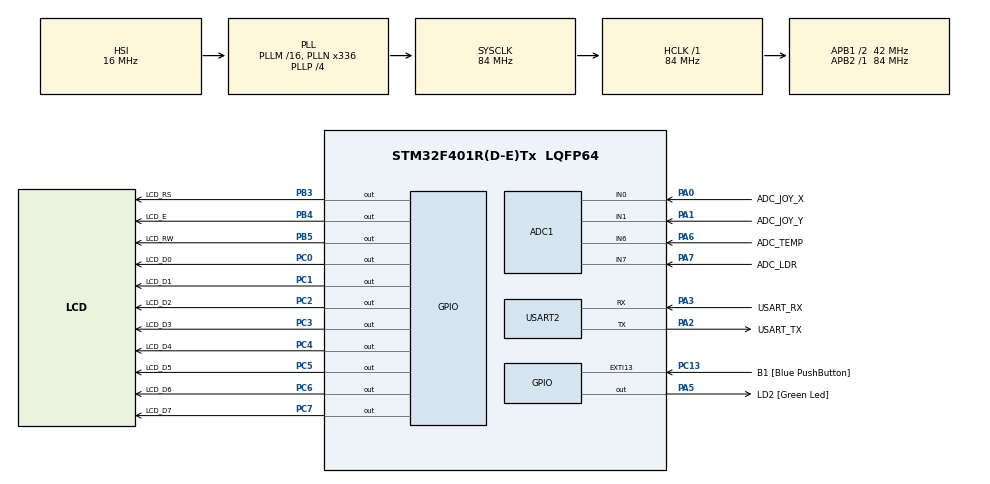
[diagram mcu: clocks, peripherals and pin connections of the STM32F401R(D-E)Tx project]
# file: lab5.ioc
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ADC1.Channel-0\#ChannelRegularConversion=ADC_CHANNEL_0
ADC1.Channel-1\#ChannelRegularConversion=ADC_CHANNEL_1
ADC1.Channel-2\#ChannelRegularConversion=ADC_CHANNEL_6
ADC1.Channel-3\#ChannelRegularConversion=ADC_CHANNEL_7
ADC1.ContinuousConvMode=ENABLE
ADC1.NbrOfConversion=4
ADC1.NbrOfConversionFlag=1
ADC1.Rank-0\#ChannelRegularConversion=1
ADC1.Rank-1\#ChannelRegularConversion=2
ADC1.Rank-2\#ChannelRegularConversion=3
ADC1.Rank-3\#ChannelRegularConversion=4
ADC1.SamplingTime-0\#ChannelRegularConversion=ADC_SAMPLETIME_480CYCLES
ADC1.SamplingTime-1\#ChannelRegularConversion=ADC_SAMPLETIME_480CYCLES
ADC1.SamplingTime-2\#ChannelRegularConversion=ADC_SAMPLETIME_480CYCLES
ADC1.SamplingTime-3\#ChannelRegularConversion=ADC_SAMPLETIME_480CYCLES
ADC1.ScanConvMode=ENABLE
ADC1.master=1
Mcu.Family=STM32F4
Mcu.Name=STM32F401R(D-E)Tx
Mcu.Package=LQFP64
NVIC.ADC_IRQn=true\:0\:0\:false\:false\:true\:true\:true
NVIC.PriorityGroup=NVIC_PRIORITYGROUP_0
PA0-WKUP.GPIO_Label=ADC_JOY_X
PA0-WKUP.Signal=ADCx_IN0
PA1.GPIO_Label=ADC_JOY_Y
PA1.Signal=ADCx_IN1
PA13.GPIO_Label=TMS
PA13.Mode=Serial_Wire
PA13.Signal=SYS_JTMS-SWDIO
PA14.GPIO_Label=TCK
PA14.Mode=Serial_Wire
PA14.Signal=SYS_JTCK-SWCLK
PA2.GPIO_Label=USART_TX
PA2.GPIO_Mode=GPIO_MODE_AF_PP
PA2.GPIO_PuPd=GPIO_NOPULL
PA2.GPIO_Speed=GPIO_SPEED_FREQ_LOW
PA2.Mode=Asynchronous
PA2.Signal=USART2_TX
PA3.GPIO_Label=USART_RX
PA3.GPIO_Mode=GPIO_MODE_AF_PP
PA3.GPIO_PuPd=GPIO_NOPULL
PA3.GPIO_Speed=GPIO_SPEED_FREQ_LOW
PA3.Mode=Asynchronous
PA3.Signal=USART2_RX
PA5.GPIO_Label=LD2 [Green Led]
PA5.GPIO_Mode=GPIO_MODE_OUTPUT_PP
PA5.GPIO_PuPd=GPIO_NOPULL
PA5.GPIO_Speed=GPIO_SPEED_FREQ_LOW
PA5.Signal=GPIO_Output
PA6.GPIO_Label=ADC_TEMP
PA6.Signal=ADCx_IN6
PA7.GPIO_Label=ADC_LDR
PA7.Signal=ADCx_IN7
PB3.GPIO_Label=LCD_RS
PB3.Signal=GPIO_Output
PB4.GPIO_Label=LCD_E
PB4.Signal=GPIO_Output
PB5.GPIO_Label=LCD_RW
PB5.Signal=GPIO_Output
PC0.GPIO_Label=LCD_D0
PC0.Signal=GPIO_Output
PC1.GPIO_Label=LCD_D1
PC1.Signal=GPIO_Output
PC13-ANTI_TAMP.GPIO_Label=B1 [Blue PushButton]
PC13-ANTI_TAMP.GPIO_ModeDefaultEXTI=GPIO_MODE_IT_FALLING
PC13-ANTI_TAMP.GPIO_PuPd=GPIO_NOPULL
PC13-ANTI_TAMP.Signal=GPXTI13
PC14-OSC32_IN.Mode=LSE-External-Oscillator
PC14-OSC32_IN.Signal=RCC_OSC32_IN
PC15-OSC32_OUT.Mode=LSE-External-Oscillator
PC15-OSC32_OUT.Signal=RCC_OSC32_OUT
PC2.GPIO_Label=LCD_D2
PC2.Signal=GPIO_Output
PC3.GPIO_Label=LCD_D3
PC3.Signal=GPIO_Output
PC4.GPIO_Label=LCD_D4
PC4.Signal=GPIO_Output
PC5.GPIO_Label=LCD_D5
PC5.Signal=GPIO_Output
PC6.GPIO_Label=LCD_D6
PC6.Signal=GPIO_Output
PC7.GPIO_Label=LCD_D7
PC7.Signal=GPIO_Output
PH0\ -\ OSC_IN.Mode=HSE-External-Clock-Source
PH0\ -\ OSC_IN.Signal=RCC_OSC_IN
PH1\ -\ OSC_OUT.Mode=HSE-External-Clock-Source
PH1\ -\ OSC_OUT.Signal=RCC_OSC_OUT
ProjectManager.HeapSize=0x200
ProjectManager.StackSize=0x400
ProjectManager.TargetToolchain=STM32CubeIDE
RCC.48MHZClocksFreq_Value=48000000
RCC.AHBFreq_Value=84000000
RCC.APB1CLKDivider=RCC_HCLK_DIV2
RCC.APB1Freq_Value=42000000
RCC.APB1TimFreq_Value=84000000
RCC.APB2Freq_Value=84000000
RCC.APB2TimFreq_Value=84000000
RCC.CortexFreq_Value=84000000
RCC.HCLKFreq_Value=84000000
RCC.HSE_VALUE=8000000
RCC.HSI_VALUE=16000000
RCC.PLLN=336
RCC.PLLP=RCC_PLLP_DIV4
RCC.PLLQ=7
RCC.SYSCLKFreq_VALUE=84000000
RCC.SYSCLKSource=RCC_SYSCLKSOURCE_PLLCLK
RCC.VCOOutputFreq_Value=336000000
SH.ADCx_IN0.0=ADC1_IN0,IN0
SH.ADCx_IN1.0=ADC1_IN1,IN1
SH.ADCx_IN6.0=ADC1_IN6,IN6
SH.ADCx_IN7.0=ADC1_IN7,IN7
TIM11.Prescaler=83
USART2.VirtualMode=VM_ASYNC
VP_TIM11_VS_ClockSourceINT.Mode=Enable_Timer
board=NUCLEO-F401RE

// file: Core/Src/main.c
/* USER CODE BEGIN Header */
/**
  ******************************************************************************
  * @file           : main.c
  * @brief          : Main program body
  ******************************************************************************
  * @attention
  *
  * <h2><center>&copy; Copyright (c) 2020 STMicroelectronics.
  * All rights reserved.</center></h2>
  *
  * This software component is licensed by ST under BSD 3-Clause license,
  * the "License"; You may not use this file except in compliance with the
  * License. You may obtain a copy of the License at:
  *                        opensource.org/licenses/BSD-3-Clause
  *
  ******************************************************************************
  */
/* USER CODE END Header */

#include "main.h"

/* USER CODE BEGIN Includes */
#include "lcd.h"
#include <stdio.h>
#include <stdlib.h>

/* USER CODE END Includes */

ADC_HandleTypeDef hadc1;

TIM_HandleTypeDef htim11;

UART_HandleTypeDef huart2;

/* USER CODE BEGIN PV */

int ADC_values[4];
int ADCDataReady = 0;	//flag, 0 if false, 1 if true
TextLCDType LCD;
int indexADC = 0;
char* string;

/* USER CODE END PV */

void SystemClock_Config(void);
static void MX_GPIO_Init(void);
static void MX_USART2_UART_Init(void);
static void MX_ADC1_Init(void);
static void MX_TIM11_Init(void);

/* USER CODE BEGIN 0 */

void delay_Microsecs(uint16_t Delay){
	// every tick tim11 is 1 microsec

	uint16_t tickStart = __HAL_TIM_GET_COUNTER(&htim11);

	while((__HAL_TIM_GET_COUNTER(&htim11) - tickStart) < Delay){
	}
}

char* intToString(int val){
	int length = snprintf(NULL, 0, "%d", val);
	string = malloc(length +1);
	snprintf(string, length +1, "%d", val);

	return string;
}

void displayADCValues(){
//	Check if callback has flagged data ready
	if(ADCDataReady == 1){
		int ADCVal = 0;
		// position 0
		TextLCD_Position(&LCD, 0, 0);

		static int index = 0;
		static int previousVal = 0;

			switch(index){
			case 0:
				ADCVal = ADC_values[index];

				int changeX = ADCVal - previousVal;
				// put char for displaying data
				TextLCD_Puts(&LCD, intToString(changeX));
				free(string);
				//print space
				TextLCD_Putchar(&LCD, 0x20);
				index +=1;
				//break;
			case 1:
				ADCVal = ADC_values[index];

				int changeY = ADCVal - previousVal;
				// put char for displaying data
				TextLCD_Puts(&LCD, intToString(changeY));
				free(string);
				//print space
				TextLCD_Putchar(&LCD, 0x20);
				index +=1;
			//	break;
			case 2:
				ADCVal = ADC_values[index];

				int celcius = ADCVal*3.3/4095*100;
				// put char for displaying data
				TextLCD_Puts(&LCD, intToString(celcius));
				free(string);
				//print space
				TextLCD_Putchar(&LCD, 0x20);
				index +=1;
			//	break;
			case 3:
				ADCVal = ADC_values[index];
				// put char for displaying data
				TextLCD_Puts(&LCD, intToString(ADCVal));
				free(string);
				//print space
				TextLCD_Putchar(&LCD, 0x20);

				index = 0;
				ADCDataReady = 0;	// reset flag
				break;
			}

	}

}

/* USER CODE END 0 */

int main(void)
{

  /* MCU Configuration--------------------------------------------------------*/

  /* Reset of all peripherals, Initializes the Flash interface and the Systick. */
  HAL_Init();

  /* Configure the system clock */
  SystemClock_Config();

  /* Initialize all configured peripherals */
  MX_GPIO_Init();
  MX_USART2_UART_Init();
  MX_ADC1_Init();
  MX_TIM11_Init();
  /* USER CODE BEGIN 2 */

  HAL_ADC_Start_IT(&hadc1);
  HAL_TIM_Base_Start_IT(&htim11);		// start timer 11
  TextLCD_Init(&LCD, GPIOB, LCD_RS_Pin, LCD_RW_Pin, LCD_E_Pin, GPIOC);	// LCD init

  /* USER CODE END 2 */

  /* Infinite loop */
  /* USER CODE BEGIN WHILE */
  while (1)
  {
	  displayADCValues();
    /* USER CODE END WHILE */

  }
}

void SystemClock_Config(void)
{
  RCC_OscInitTypeDef RCC_OscInitStruct = {0};
  RCC_ClkInitTypeDef RCC_ClkInitStruct = {0};

  /** Configure the main internal regulator output voltage
  */
  __HAL_RCC_PWR_CLK_ENABLE();
  __HAL_PWR_VOLTAGESCALING_CONFIG(PWR_REGULATOR_VOLTAGE_SCALE2);
  /** Initializes the CPU, AHB and APB busses clocks
  */
  RCC_OscInitStruct.OscillatorType = RCC_OSCILLATORTYPE_HSI;
  RCC_OscInitStruct.HSIState = RCC_HSI_ON;
  RCC_OscInitStruct.HSICalibrationValue = RCC_HSICALIBRATION_DEFAULT;
  RCC_OscInitStruct.PLL.PLLState = RCC_PLL_ON;
  RCC_OscInitStruct.PLL.PLLSource = RCC_PLLSOURCE_HSI;
  RCC_OscInitStruct.PLL.PLLM = 16;
  RCC_OscInitStruct.PLL.PLLN = 336;
  RCC_OscInitStruct.PLL.PLLP = RCC_PLLP_DIV4;
  RCC_OscInitStruct.PLL.PLLQ = 7;
  if (HAL_RCC_OscConfig(&RCC_OscInitStruct) != HAL_OK)
  {
    Error_Handler();
  }
  /** Initializes the CPU, AHB and APB busses clocks
  */
  RCC_ClkInitStruct.ClockType = RCC_CLOCKTYPE_HCLK|RCC_CLOCKTYPE_SYSCLK
                              |RCC_CLOCKTYPE_PCLK1|RCC_CLOCKTYPE_PCLK2;
  RCC_ClkInitStruct.SYSCLKSource = RCC_SYSCLKSOURCE_PLLCLK;
  RCC_ClkInitStruct.AHBCLKDivider = RCC_SYSCLK_DIV1;
  RCC_ClkInitStruct.APB1CLKDivider = RCC_HCLK_DIV2;
  RCC_ClkInitStruct.APB2CLKDivider = RCC_HCLK_DIV1;

  if (HAL_RCC_ClockConfig(&RCC_ClkInitStruct, FLASH_LATENCY_2) != HAL_OK)
  {
    Error_Handler();
  }
}

static void MX_ADC1_Init(void)
{

  ADC_ChannelConfTypeDef sConfig = {0};

  /** Configure the global features of the ADC (Clock, Resolution, Data Alignment and number of conversion)
  */
  hadc1.Instance = ADC1;
  hadc1.Init.ClockPrescaler = ADC_CLOCK_SYNC_PCLK_DIV4;
  hadc1.Init.Resolution = ADC_RESOLUTION_12B;
  hadc1.Init.ScanConvMode = ENABLE;
  hadc1.Init.ContinuousConvMode = ENABLE;
  hadc1.Init.DiscontinuousConvMode = DISABLE;
  hadc1.Init.ExternalTrigConvEdge = ADC_EXTERNALTRIGCONVEDGE_NONE;
  hadc1.Init.ExternalTrigConv = ADC_SOFTWARE_START;
  hadc1.Init.DataAlign = ADC_DATAALIGN_RIGHT;
  hadc1.Init.NbrOfConversion = 4;
  hadc1.Init.DMAContinuousRequests = DISABLE;
  hadc1.Init.EOCSelection = ADC_EOC_SINGLE_CONV;
  if (HAL_ADC_Init(&hadc1) != HAL_OK)
  {
    Error_Handler();
  }
  /** Configure for the selected ADC regular channel its corresponding rank in the sequencer and its sample time.
  */
  sConfig.Channel = ADC_CHANNEL_0;
  sConfig.Rank = 1;
  sConfig.SamplingTime = ADC_SAMPLETIME_480CYCLES;
  if (HAL_ADC_ConfigChannel(&hadc1, &sConfig) != HAL_OK)
  {
    Error_Handler();
  }
  /** Configure for the selected ADC regular channel its corresponding rank in the sequencer and its sample time.
  */
  sConfig.Channel = ADC_CHANNEL_1;
  sConfig.Rank = 2;
  if (HAL_ADC_ConfigChannel(&hadc1, &sConfig) != HAL_OK)
  {
    Error_Handler();
  }
  /** Configure for the selected ADC regular channel its corresponding rank in the sequencer and its sample time.
  */
  sConfig.Channel = ADC_CHANNEL_6;
  sConfig.Rank = 3;
  if (HAL_ADC_ConfigChannel(&hadc1, &sConfig) != HAL_OK)
  {
    Error_Handler();
  }
  /** Configure for the selected ADC regular channel its corresponding rank in the sequencer and its sample time.
  */
  sConfig.Channel = ADC_CHANNEL_7;
  sConfig.Rank = 4;
  if (HAL_ADC_ConfigChannel(&hadc1, &sConfig) != HAL_OK)
  {
    Error_Handler();
  }

}

static void MX_TIM11_Init(void)
{

  htim11.Instance = TIM11;
  htim11.Init.Prescaler = 83;
  htim11.Init.CounterMode = TIM_COUNTERMODE_UP;
  htim11.Init.Period = 0;
  htim11.Init.ClockDivision = TIM_CLOCKDIVISION_DIV1;
  htim11.Init.AutoReloadPreload = TIM_AUTORELOAD_PRELOAD_DISABLE;
  if (HAL_TIM_Base_Init(&htim11) != HAL_OK)
  {
    Error_Handler();
  }

}

static void MX_USART2_UART_Init(void)
{

  huart2.Instance = USART2;
  huart2.Init.BaudRate = 115200;
  huart2.Init.WordLength = UART_WORDLENGTH_8B;
  huart2.Init.StopBits = UART_STOPBITS_1;
  huart2.Init.Parity = UART_PARITY_NONE;
  huart2.Init.Mode = UART_MODE_TX_RX;
  huart2.Init.HwFlowCtl = UART_HWCONTROL_NONE;
  huart2.Init.OverSampling = UART_OVERSAMPLING_16;
  if (HAL_UART_Init(&huart2) != HAL_OK)
  {
    Error_Handler();
  }

}

static void MX_GPIO_Init(void)
{
  GPIO_InitTypeDef GPIO_InitStruct = {0};

  /* GPIO Ports Clock Enable */
  __HAL_RCC_GPIOC_CLK_ENABLE();
  __HAL_RCC_GPIOH_CLK_ENABLE();
  __HAL_RCC_GPIOA_CLK_ENABLE();
  __HAL_RCC_GPIOB_CLK_ENABLE();

  /*Configure GPIO pin Output Level */
  HAL_GPIO_WritePin(GPIOC, LCD_D0_Pin|LCD_D1_Pin|LCD_D2_Pin|LCD_D3_Pin
                          |LCD_D4_Pin|LCD_D5_Pin|LCD_D6_Pin|LCD_D7_Pin, GPIO_PIN_RESET);

  /*Configure GPIO pin Output Level */
  HAL_GPIO_WritePin(LD2_GPIO_Port, LD2_Pin, GPIO_PIN_RESET);

  /*Configure GPIO pin Output Level */
  HAL_GPIO_WritePin(GPIOB, LCD_RS_Pin|LCD_E_Pin|LCD_RW_Pin, GPIO_PIN_RESET);

  /*Configure GPIO pin : B1_Pin */
  GPIO_InitStruct.Pin = B1_Pin;
  GPIO_InitStruct.Mode = GPIO_MODE_IT_FALLING;
  GPIO_InitStruct.Pull = GPIO_NOPULL;
  HAL_GPIO_Init(B1_GPIO_Port, &GPIO_InitStruct);

  /*Configure GPIO pins : LCD_D0_Pin LCD_D1_Pin LCD_D2_Pin LCD_D3_Pin
                           LCD_D4_Pin LCD_D5_Pin LCD_D6_Pin LCD_D7_Pin */
  GPIO_InitStruct.Pin = LCD_D0_Pin|LCD_D1_Pin|LCD_D2_Pin|LCD_D3_Pin
                          |LCD_D4_Pin|LCD_D5_Pin|LCD_D6_Pin|LCD_D7_Pin;
  GPIO_InitStruct.Mode = GPIO_MODE_OUTPUT_PP;
  GPIO_InitStruct.Pull = GPIO_NOPULL;
  GPIO_InitStruct.Speed = GPIO_SPEED_FREQ_LOW;
  HAL_GPIO_Init(GPIOC, &GPIO_InitStruct);

  /*Configure GPIO pin : LD2_Pin */
  GPIO_InitStruct.Pin = LD2_Pin;
  GPIO_InitStruct.Mode = GPIO_MODE_OUTPUT_PP;
  GPIO_InitStruct.Pull = GPIO_NOPULL;
  GPIO_InitStruct.Speed = GPIO_SPEED_FREQ_LOW;
  HAL_GPIO_Init(LD2_GPIO_Port, &GPIO_InitStruct);

  /*Configure GPIO pins : LCD_RS_Pin LCD_E_Pin LCD_RW_Pin */
  GPIO_InitStruct.Pin = LCD_RS_Pin|LCD_E_Pin|LCD_RW_Pin;
  GPIO_InitStruct.Mode = GPIO_MODE_OUTPUT_PP;
  GPIO_InitStruct.Pull = GPIO_NOPULL;
  GPIO_InitStruct.Speed = GPIO_SPEED_FREQ_LOW;
  HAL_GPIO_Init(GPIOB, &GPIO_InitStruct);

}

/* USER CODE BEGIN 4 */

// ADC callback
void HAL_ADC_ConvCpltCallback(ADC_HandleTypeDef* AdcHandle){
	//	1) New ADC value ready since we got callback.
	if(AdcHandle->Instance == ADC1){
		//	2) Store value in Array at index, then increase index
		ADC_values[indexADC] = HAL_ADC_GetValue(AdcHandle);
		indexADC +=1;

		// 3) If Array is full, flag to main loop that data is ready. Reset index to zero.
		if(indexADC == 4){
			indexADC = 0;
			ADCDataReady = 1;
		}
	}
}

/* USER CODE END 4 */

void Error_Handler(void)
{
}

/************************ (C) COPYRIGHT STMicroelectronics *****END OF FILE****/
